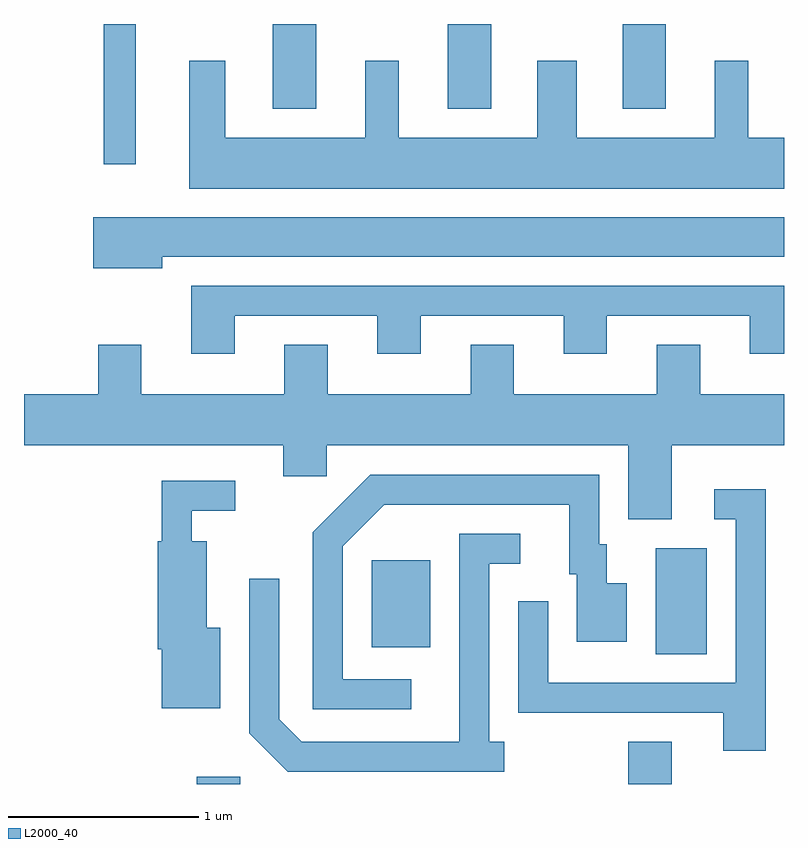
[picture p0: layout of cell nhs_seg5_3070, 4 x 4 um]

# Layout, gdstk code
import gdstk
lib = gdstk.Library(unit=1e-6, precision=1e-09)
def R(c, l, rs):  # rectangles x0, y0, x1, y1
    for r in rs: c.add(gdstk.rectangle(r[:2], r[2:], *l))
def A(c, l, x, y, w, h, nx, ny, dx, dy):  # array of equal rectangles
    R(c, l, [(x+i*dx, y+j*dy, x+i*dx+w, y+j*dy+h) for i in range(nx) for j in range(ny)])
def P(c, l, *ps):  # polygons
    for p in ps: c.add(gdstk.Polygon(p, *l))
L2000_40 = (2000, 40)

nhs_seg5_3070 = lib.new_cell('nhs_seg5_3070')
A(nhs_seg5_3070, L2000_40, 276.921, 1509.626, 0.228, 0.446, 3, 1, 0.92, 0)
R(nhs_seg5_3070, L2000_40, [(276.521,1506.072,276.749,1506.109), (278.791,1506.072,279.019,1506.294), (278.936,1506.756,279.204,1507.314), (277.441,1506.791,277.749,1507.249), (276.031,1509.333,276.199,1510.072)])
P(nhs_seg5_3070, L2000_40, [(279.611,1509.474),(279.424,1509.474),(279.424,1509.879),(279.246,1509.879),(279.246,1509.474),(278.519,1509.474),(278.519,1509.879),(278.311,1509.879),(278.311,1509.474),(277.584,1509.474),(277.584,1509.879),(277.406,1509.879),(277.406,1509.474),(276.669,1509.474),(276.669,1509.879),(276.481,1509.879),(276.481,1509.206),(279.611,1509.206)],
  [(276.339,1508.846),(279.611,1508.846),(279.611,1509.054),(275.976,1509.054),(275.976,1508.786),(276.339,1508.786)],
  [(276.719,1508.536),(277.471,1508.536),(277.471,1508.336),(277.699,1508.336),(277.699,1508.536),(278.451,1508.536),(278.451,1508.336),(278.679,1508.336),(278.679,1508.536),(279.431,1508.536),(279.431,1508.336),(279.611,1508.336),(279.611,1508.694),(276.491,1508.694),(276.491,1508.336),(276.719,1508.336)],
  [(279.019,1507.856),(279.611,1507.856),(279.611,1508.124),(279.169,1508.124),(279.169,1508.384),(278.941,1508.384),(278.941,1508.124),(278.189,1508.124),(278.189,1508.384),(277.961,1508.384),(277.961,1508.124),(277.209,1508.124),(277.209,1508.384),(276.981,1508.384),(276.981,1508.124),(276.229,1508.124),(276.229,1508.384),(276.001,1508.384),(276.001,1508.124),(275.611,1508.124),(275.611,1507.856),(276.976,1507.856),(276.976,1507.691),(277.204,1507.691),(277.204,1507.856),(278.791,1507.856),(278.791,1507.466),(279.019,1507.466)],
  [(277.648,1506.624),(277.289,1506.624),(277.289,1507.324),(277.507,1507.541),(278.481,1507.541),(278.481,1507.176),(278.521,1507.176),(278.521,1506.821),(278.784,1506.821),(278.784,1507.129),(278.679,1507.129),(278.679,1507.334),(278.639,1507.334),(278.639,1507.699),(277.434,1507.699),(277.131,1507.397),(277.131,1506.466),(277.648,1506.466)],
  [(276.644,1506.894),(276.574,1506.894),(276.574,1507.349),(276.494,1507.349),(276.494,1507.511),(276.723,1507.511),(276.723,1507.669),(276.336,1507.669),(276.336,1507.349),(276.316,1507.349),(276.316,1506.781),(276.336,1506.781),(276.336,1506.471),(276.644,1506.471)],
  [(279.514,1507.624),(279.243,1507.624),(279.243,1507.466),(279.356,1507.466),(279.356,1506.604),(278.369,1506.604),(278.369,1507.033),(278.211,1507.033),(278.211,1506.446),(279.291,1506.446),(279.291,1506.246),(279.514,1506.246)],
  [(278.138,1506.294),(278.059,1506.294),(278.059,1507.231),(278.223,1507.231),(278.223,1507.389),(277.901,1507.389),(277.901,1506.294),(277.072,1506.294),(276.954,1506.412),(276.954,1507.153),(276.796,1507.153),(276.796,1506.339),(276.999,1506.136),(278.138,1506.136)])

lib.write_gds('nhs_seg5_3070.gds')
